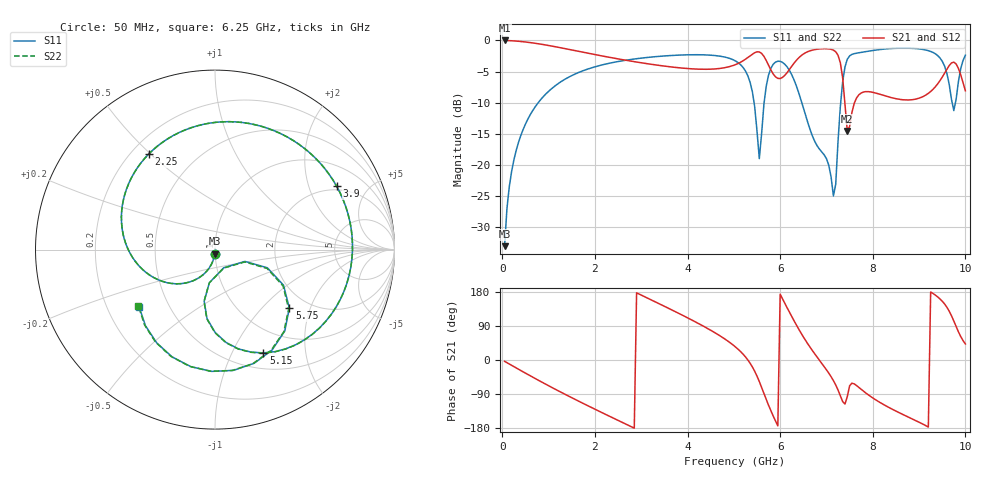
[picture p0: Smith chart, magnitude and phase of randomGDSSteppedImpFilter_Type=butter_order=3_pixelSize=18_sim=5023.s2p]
! freq	dB(S11)	phase(S11)	dB(S12)	phase(S12)
!  dB(S21)	phase(S21)	dB(S22)	phase(S22)
!S-par simulation data
#  GHz  S  DB  R 50
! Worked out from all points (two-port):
!   200 points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, 50 MHz to 10 GHz, reference 50 ohm
!   highest |S21| = -0.01 dB at 50 MHz (marker M1); lowest = -14.5 dB at 7.45 GHz (marker M2)
!   |S21| within 3 dB of the highest: start of sweep to 2.529 GHz; 6.374 GHz to 7.276 GHz (901.4 MHz wide, 13.2 % of centre) (the widest 2 of 3)
!   lowest |S11| = -33.1 dB at 50 MHz (marker M3), VSWR 1.05, Z = 49.8 - j2.21 ohm
!   |S11| at or under -10 dB: start of sweep to 776.7 MHz; 5.437 GHz to 5.654 GHz (217 MHz wide, 3.91 % of centre); 6.468 GHz to 7.307 GHz (839.6 MHz wide, 12.2 % of centre) (the widest 3 of 4)
!   |S22| runs from -33.1 to -1.2 dB; largest |S21 - S12| = 0
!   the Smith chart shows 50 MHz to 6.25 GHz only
!   S11 on the Smith chart (normalised r, x): 50 MHz: 1.00, -0.04; 2.25 GHz: 0.27, +0.49; 3.9 GHz: 1.82, +3.09; 5.15 GHz: 0.69, -1.33; 5.75 GHz: 1.61, -1.45; 6.25 GHz: 0.34, -0.30
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0.05  -33.05 -93.6  -0.01 -3.6  -0.01 -3.6  -33.05 -93.6
0.2  -21.11 -104.3  -0.06 -14.0  -0.06 -14.0  -21.11 -104.3
0.5  -13.45 -125.2  -0.25 -34.7  -0.25 -34.7  -13.45 -125.2
1.75  -4.85 154.5  -1.91 -114.8  -1.91 -114.8  -4.85 154.5
2.25  -3.77 124.7  -2.63 -144.7  -2.63 -144.7  -3.77 124.7
3.4  -2.55 57.4  -4.03 147.8  -4.03 147.8  -2.55 57.3
3.9  -2.33 27.5  -4.46 117.6  -4.46 117.6  -2.34 27.4
5.05  -3.36 -54.5  -3.84 32.9  -3.84 32.9  -3.37 -54.8
5.15  -3.94 -64.9  -3.48 21.6  -3.48 21.6  -3.94 -65.1
5.55  -18.99 -64.4  -1.85 -56.9  -1.85 -56.9  -18.87 -64.8
5.75  -5.56 -38.2  -4.00 -119.6  -4.00 -119.6  -5.56 -38.9
6  -3.37 -91.5  -6.12 173.7  -6.12 173.7  -3.37 -92.2
6.25  -5.51 -142.8  -4.15 114.8  -4.15 114.8  -5.52 -143.7
6.7  -15.41 125.4  -1.55 24.2  -1.55 24.2  -15.38 124.9
7.15  -24.99 80.7  -1.56 -54.3  -1.56 -54.3  -24.49 83.1
7.35  -6.66 117.2  -6.03 -109.7  -6.03 -109.7  -6.61 116.7
7.45  -3.03 77.5  -14.54 -96.6  -14.54 -96.6  -3.01 77.3
7.75  -1.92 17.0  -8.44 -77.5  -8.44 -77.5  -1.92 17.1
8.35  -1.33 -33.2  -9.09 -125.4  -9.09 -125.4  -1.32 -32.9
9.55  -4.12 -104.2  -5.27 148.0  -5.27 148.0  -4.09 -103.7
9.75  -11.27 -80.1  -3.49 102.9  -3.49 102.9  -11.05 -80.0
10  -2.38 -62.4  -8.10 42.3  -8.10 42.3  -2.37 -62.7
